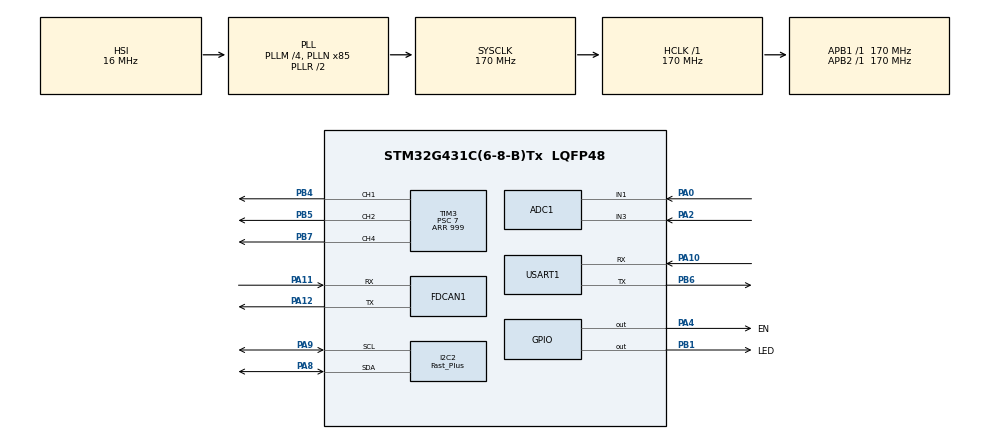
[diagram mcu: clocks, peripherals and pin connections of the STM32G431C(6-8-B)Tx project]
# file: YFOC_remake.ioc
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ADC1.Channel-0\#ChannelRegularConversion=ADC_CHANNEL_1
ADC1.ContinuousConvMode=ENABLE
ADC1.DMAContinuousRequests=ENABLE
ADC1.EnableInjectedConversion=ENABLE
ADC1.ExternalTrigInjecConv=ADC_EXTERNALTRIGINJEC_T3_TRGO
ADC1.InjNumberOfConversion=2
ADC1.InjectedChannel-1\#ChannelInjectedConversion=ADC_CHANNEL_1
ADC1.InjectedChannel-2\#ChannelInjectedConversion=ADC_CHANNEL_3
ADC1.InjectedOffsetNumber-1\#ChannelInjectedConversion=ADC_OFFSET_NONE
ADC1.InjectedOffsetNumber-2\#ChannelInjectedConversion=ADC_OFFSET_NONE
ADC1.InjectedRank-1\#ChannelInjectedConversion=1
ADC1.InjectedRank-2\#ChannelInjectedConversion=2
ADC1.InjectedSamplingTime-1\#ChannelInjectedConversion=ADC_SAMPLETIME_92CYCLES_5
ADC1.InjectedSamplingTime-2\#ChannelInjectedConversion=ADC_SAMPLETIME_92CYCLES_5
ADC1.NbrOfConversionFlag=1
ADC1.OffsetNumber-0\#ChannelRegularConversion=ADC_OFFSET_NONE
ADC1.Rank-0\#ChannelRegularConversion=1
ADC1.SamplingTime-0\#ChannelRegularConversion=ADC_SAMPLETIME_2CYCLES_5
ADC1.master=1
Dma.ADC1.1.Direction=DMA_PERIPH_TO_MEMORY
Dma.ADC1.1.EventEnable=DISABLE
Dma.ADC1.1.Instance=DMA1_Channel2
Dma.ADC1.1.MemDataAlignment=DMA_MDATAALIGN_HALFWORD
Dma.ADC1.1.MemInc=DMA_MINC_ENABLE
Dma.ADC1.1.Mode=DMA_CIRCULAR
Dma.ADC1.1.PeriphDataAlignment=DMA_PDATAALIGN_HALFWORD
Dma.ADC1.1.PeriphInc=DMA_PINC_DISABLE
Dma.ADC1.1.Polarity=HAL_DMAMUX_REQ_GEN_RISING
Dma.ADC1.1.Priority=DMA_PRIORITY_LOW
Dma.ADC1.1.RequestNumber=1
Dma.ADC1.1.SignalID=NONE
Dma.ADC1.1.SyncEnable=DISABLE
Dma.ADC1.1.SyncPolarity=HAL_DMAMUX_SYNC_NO_EVENT
Dma.ADC1.1.SyncRequestNumber=1
Dma.ADC1.1.SyncSignalID=NONE
Dma.Request0=USART1_TX
Dma.Request1=ADC1
Dma.USART1_TX.0.Direction=DMA_MEMORY_TO_PERIPH
Dma.USART1_TX.0.EventEnable=DISABLE
Dma.USART1_TX.0.Instance=DMA1_Channel1
Dma.USART1_TX.0.MemDataAlignment=DMA_MDATAALIGN_BYTE
Dma.USART1_TX.0.MemInc=DMA_MINC_ENABLE
Dma.USART1_TX.0.Mode=DMA_NORMAL
Dma.USART1_TX.0.PeriphDataAlignment=DMA_PDATAALIGN_BYTE
Dma.USART1_TX.0.PeriphInc=DMA_PINC_DISABLE
Dma.USART1_TX.0.Polarity=HAL_DMAMUX_REQ_GEN_RISING
Dma.USART1_TX.0.Priority=DMA_PRIORITY_LOW
Dma.USART1_TX.0.RequestNumber=1
Dma.USART1_TX.0.SignalID=NONE
Dma.USART1_TX.0.SyncEnable=DISABLE
Dma.USART1_TX.0.SyncPolarity=HAL_DMAMUX_SYNC_NO_EVENT
Dma.USART1_TX.0.SyncRequestNumber=1
Dma.USART1_TX.0.SyncSignalID=NONE
FDCAN1.CalculateBaudRateNominal=999999
FDCAN1.CalculateTimeBitNominal=1000
FDCAN1.CalculateTimeQuantumNominal=29.411764705882355
FDCAN1.DataPrescaler=5
FDCAN1.DataSyncJumpWidth=8
FDCAN1.DataTimeSeg1=25
FDCAN1.DataTimeSeg2=8
FDCAN1.NominalPrescaler=5
FDCAN1.NominalSyncJumpWidth=8
FDCAN1.NominalTimeSeg1=25
FDCAN1.NominalTimeSeg2=8
FDCAN1.ProtocolException=ENABLE
FDCAN1.StdFiltersNbr=1
I2C2.I2C_Speed_Mode=I2C_Fast_Plus
I2C2.Timing=0x4052060F
Mcu.Family=STM32G4
Mcu.Name=STM32G431C(6-8-B)Tx
Mcu.Package=LQFP48
NVIC.ADC1_2_IRQn=true\:0\:0\:false\:false\:true\:true\:true\:true
NVIC.DMA1_Channel1_IRQn=true\:0\:0\:false\:false\:true\:false\:true\:true
NVIC.FDCAN1_IT0_IRQn=true\:0\:0\:false\:false\:true\:true\:true\:true
NVIC.PriorityGroup=NVIC_PRIORITYGROUP_4
NVIC.TIM3_IRQn=true\:0\:0\:false\:false\:true\:true\:true\:true
NVIC.USART1_IRQn=true\:0\:0\:false\:false\:true\:false\:true\:true
PA0.Mode=IN1-Single-Ended
PA0.Signal=ADC1_IN1
PA10.Mode=Asynchronous
PA10.Signal=USART1_RX
PA11.Mode=FDCAN_Activate
PA11.Signal=FDCAN1_RX
PA12.Mode=FDCAN_Activate
PA12.Signal=FDCAN1_TX
PA13.Mode=Serial_Wire
PA13.Signal=SYS_JTMS-SWDIO
PA14.Mode=Serial_Wire
PA14.Signal=SYS_JTCK-SWCLK
PA2.Mode=IN3-Single-Ended
PA2.Signal=ADC1_IN3
PA4.GPIO_Label=EN
PA4.Signal=GPIO_Output
PA8.Mode=I2C
PA8.Signal=I2C2_SDA
PA9.Mode=I2C
PA9.Signal=I2C2_SCL
PB1.GPIO_Label=LED
PB1.GPIO_PuPd=GPIO_PULLUP
PB1.PinState=GPIO_PIN_SET
PB1.Signal=GPIO_Output
PB4.Signal=S_TIM3_CH1
PB5.Signal=S_TIM3_CH2
PB6.Mode=Asynchronous
PB6.Signal=USART1_TX
PB7.Signal=S_TIM3_CH4
PF0-OSC_IN.Mode=HSE-External-Oscillator
PF0-OSC_IN.Signal=RCC_OSC_IN
PF1-OSC_OUT.Mode=HSE-External-Oscillator
PF1-OSC_OUT.Signal=RCC_OSC_OUT
ProjectManager.HeapSize=0x200
ProjectManager.StackSize=0x400
ProjectManager.TargetToolchain=STM32CubeIDE
RCC.ADC12Freq_Value=170000000
RCC.AHBFreq_Value=170000000
RCC.APB1Freq_Value=170000000
RCC.APB1TimFreq_Value=170000000
RCC.APB2Freq_Value=170000000
RCC.APB2TimFreq_Value=170000000
RCC.CortexFreq_Value=170000000
RCC.EXTERNAL_CLOCK_VALUE=12288000
RCC.HCLKFreq_Value=170000000
RCC.HSE_VALUE=25000000
RCC.HSI48_VALUE=48000000
RCC.HSI_VALUE=16000000
RCC.LSE_VALUE=32768
RCC.PLLM=RCC_PLLM_DIV4
RCC.PLLN=85
RCC.SYSCLKFreq_VALUE=170000000
RCC.SYSCLKSource=RCC_SYSCLKSOURCE_PLLCLK
RCC.USBFreq_Value=170000000
RCC.VCOOutputFreq_Value=340000000
SH.S_TIM3_CH1.0=TIM3_CH1,PWM Generation1 CH1
SH.S_TIM3_CH2.0=TIM3_CH2,PWM Generation2 CH2
SH.S_TIM3_CH4.0=TIM3_CH4,PWM Generation4 CH4
STMicroelectronics.X-CUBE-ALGOBUILD.1.4.0.LibraryCcDSPOoLibraryJjDSPOoLibrary=true
TIM3.AutoReloadPreload=TIM_AUTORELOAD_PRELOAD_DISABLE
TIM3.Channel-PWM\ Generation1\ CH1=TIM_CHANNEL_1
TIM3.Channel-PWM\ Generation2\ CH2=TIM_CHANNEL_2
TIM3.Channel-PWM\ Generation4\ CH4=TIM_CHANNEL_4
TIM3.CounterMode=TIM_COUNTERMODE_UP
TIM3.OCFastMode_PWM-PWM\ Generation1\ CH1=TIM_OCFAST_ENABLE
TIM3.OCFastMode_PWM-PWM\ Generation2\ CH2=TIM_OCFAST_ENABLE
TIM3.OCFastMode_PWM-PWM\ Generation4\ CH4=TIM_OCFAST_ENABLE
TIM3.OCMode_PWM-PWM\ Generation1\ CH1=TIM_OCMODE_PWM2
TIM3.OCMode_PWM-PWM\ Generation2\ CH2=TIM_OCMODE_PWM2
TIM3.OCMode_PWM-PWM\ Generation4\ CH4=TIM_OCMODE_PWM2
TIM3.PeriodNoDither=999
TIM3.Prescaler=7
TIM3.TIM_MasterOutputTrigger=TIM_TRGO_UPDATE
USART1.VirtualMode-Asynchronous=VM_ASYNC
VP_STMicroelectronics.X-CUBE-ALGOBUILD_VS_DSPOoLibraryJjLibrary_1.4.0_1.4.0.Mode=DSPOoLibraryJjLibrary
VP_SYS_VS_DBSignals.Mode=DisableDeadBatterySignals
VP_TIM3_VS_ClockSourceINT.Mode=Internal
board=custom

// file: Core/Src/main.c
/* USER CODE BEGIN Header */
/**
  ******************************************************************************
  * @file           : main.c
  * @brief          : Main program body
  ******************************************************************************
  * @attention
  *
  * Copyright (c) 2025 STMicroelectronics.
  * All rights reserved.
  *
  * This software is licensed under terms that can be found in the LICENSE file
  * in the root directory of this software component.
  * If no LICENSE file comes with this software, it is provided AS-IS.
  *
  ******************************************************************************
  */
/* USER CODE END Header */
#include "main.h"
#include "adc.h"
#include "dma.h"
#include "fdcan.h"
#include "i2c.h"
#include "tim.h"
#include "usart.h"
#include "gpio.h"

/* USER CODE BEGIN Includes */
#include "UART_DMA.h"
#include "arm_math.h"
/* USER CODE END Includes */

void SystemClock_Config(void);

/* USER CODE BEGIN 0 */

#include <stdlib.h>
#include "pid.h"
#include "dwt.h"

pid_type_def pid_cur_q;
pid_type_def pid_cur_d;

float whl_whl=0.0f;

#define _3PI_2 4.71238898038f
#define _2PI 6.28318530718f
#define _constrain(amt,low,high) ((amt)<(low)?(low):((amt)>(high)?(high):(amt)))

float voltage_limit=24.0f;
float voltage_power_supply=24.0f;
float zero_electric_angle=0,Ualpha,Ubeta=0,Ua=0,Ub=0,Uc=0,dc_a=0,dc_b=0,dc_c=0;

#if motor_type == 4310
int PP=14;    //电机极对数
int DIR= 1;    //传感器方向
#endif
#if motor_type == 3505
int PP=11;    //电机极对数
int DIR= -1;    //传感器方向
#endif

float angle_prev=0; // 最后一次调用 getSensorAngle() 的输出结果，用于得到完整的圈数和速度
void setPwm(float Ua, float Ub, float Uc){
  Ua = _constrain(Ua, 0.0f, voltage_limit);
  Ub = _constrain(Ub, 0.0f, voltage_limit);
  Uc = _constrain(Uc, 0.0f, voltage_limit);
  dc_a = _constrain(Ua / voltage_power_supply, 0.0f , 1.0f );
  dc_b = _constrain(Ub / voltage_power_supply, 0.0f , 1.0f );
  dc_c = _constrain(Uc / voltage_power_supply, 0.0f , 1.0f );
  htim3.Instance->CCR1 = 1000-dc_a*1000;
  htim3.Instance->CCR2 = 1000-dc_b*1000;
  htim3.Instance->CCR4 = 1000-dc_c*1000;
}

void setSVPWM(float Ua, float Ub, float Uc) {
  float X ,Y ,Z = 0;
  float T1,T2,T1Temp,T2Temp = 0;
  uint8_t A,B,C,N = 0;
  uint16_t Ta,Tb,Tc = 0;
  if(Ua > 0){A = 1;} else{A = 0;}
  if(Ub > 0){B = 1;} else{B = 0;}
  if(Uc > 0){C = 1;} else{C = 0;}
  N = 4 * C + 2 * B + A;

  X = (1.732f * 2000 * Ualpha) / voltage_power_supply;
  Y = (1.5f * Ubeta * 2000 + 0.866f * Ualpha * 2000) / voltage_power_supply;
  Z = (-1.5f * Ubeta * 2000 + 0.866f * Ualpha * 2000) / voltage_power_supply;

  switch(N) {
    case 3: {T1 = -Z; T2 =  X;} break;
    case 1: {T1 =  Z; T2 =  Y;} break;
    case 5: {T1 =  X; T2 = -Y;} break;
    case 4: {T1 = -X; T2 =  Z;} break;
    case 6: {T1 = -Y; T2 = -Z;} break;
    case 2: {T1 =  Y; T2 = -X;} break;
    default:{T1 = 0;  T2=0;}    break;
  }
      T1Temp = T1;
      T2Temp = T2;

      if(T1+T2 > 1900)
      {
        T1 = 1900 * T1Temp / (T1Temp + T2Temp);
        T2 = 1900 * T2Temp / (T1Temp + T2Temp);
      }

      Ta = (2000 - T1 - T2) * 0.25f;
      Tb = Ta + T1 * 0.5f;
      Tc = Tb + T2 * 0.5f;

      switch(N)
      {
        case 3:
        {
          htim3.Instance->CCR1 = Ta;
          htim3.Instance->CCR2 = Tb;
          htim3.Instance->CCR4 = Tc;
        } break;
        case 1:
        {
           htim3.Instance->CCR1 = Tb;
           htim3.Instance->CCR2 = Ta;
           htim3.Instance->CCR4 = Tc;
        } break;
        case 5:
        {
           htim3.Instance->CCR1 = Tc;
           htim3.Instance->CCR2 = Ta;
           htim3.Instance->CCR4 = Tb;
        } break;
        case 4:
        {
           htim3.Instance->CCR1 = Tc;
           htim3.Instance->CCR2 = Tb;
           htim3.Instance->CCR4 = Ta;
        } break;
        case 6:
        {
           htim3.Instance->CCR1 = Tb;
           htim3.Instance->CCR2 = Tc;
           htim3.Instance->CCR4 = Ta;
        } break;
        case 2:
        {
           htim3.Instance->CCR1 = Ta;
           htim3.Instance->CCR2 = Tc;
           htim3.Instance->CCR4 = Tb;
        } break;
        default:
        {
           htim3.Instance->CCR1 = Ta;
           htim3.Instance->CCR2 = Tb;
           htim3.Instance->CCR4 = Tc;
        }break;
      }

}
float _normalizeAngle(float angle){
  float a = fmod(angle, 2*PI);   //取余运算可以用于归一化，列出特殊值例子算便知
  return a >= 0 ? a : (a + 2*PI);
}

float my_position=0.0f;
uint8_t as5600_data[2] = {};
uint16_t raw_angle;
float angle_deg;
int32_t full_rotations=0; // 总圈数计数
int read_AS5600(){
  HAL_I2C_Mem_Read(&hi2c2, 0x36<<1, 0x0E, I2C_MEMADD_SIZE_8BIT, as5600_data, 2, 0xffff);
  raw_angle = (as5600_data[0] << 8) | as5600_data[1];
  return raw_angle;
}
void getAngle_Without_track(float* position){//my_position*180.0f/PI/0.08789
  *position = read_AS5600()*0.08789* PI / 180;    //得到弧度制的角度
}
float _electricalAngle(){
  return  _normalizeAngle((float)(DIR *  PP) * my_position-zero_electric_angle);
}
float getAngle(){
  float val = my_position;
  float d_angle = val - angle_prev;  //计算旋转的总圈数
  if(abs(d_angle) > (0.5f*6.28318530718f) ) full_rotations += ( d_angle > 0 ) ? -1 : 1;//通过判断角度变化是否大于80%的一圈(0.8f*6.28318530718f)来判断是否发生了溢出，如果发生了，则将full_rotations增加1（如果d_angle小于0）或减少1（如果d_angle大于0）。
  angle_prev = val;
  return (float)full_rotations * 6.28318530718f + angle_prev;
}

void setTorque_QD(float Uq, float Ud, float angle_el) {
  getAngle(); //更新传感器数值
  // 限制 Uq 和 Ud 的范围
  Uq = _constrain(Uq, -(voltage_power_supply)/2, (voltage_power_supply)/2);
  Ud = _constrain(Ud, -(voltage_power_supply)/2, (voltage_power_supply)/2);
  angle_el = _normalizeAngle(angle_el);
  // 提前计算 sin 和 cos，节省计算资源
  float ct = arm_cos_f32(angle_el);
  float st = arm_sin_f32(angle_el);
  // 帕克逆变换 (Inverse Park Transform)

  Ualpha = Ud * ct - Uq * st;
  Ubeta  = Ud * st + Uq * ct;
  // 克拉克逆变换 (Inverse Clarke Transform)
  Ua = Ualpha + voltage_power_supply/2;
  Ub = 0.866f*Ubeta   - 0.5f*Ualpha + voltage_power_supply/2.0f;
  Uc = - 0.866f*Ubeta -0.5f*Ualpha + voltage_power_supply/2.0f;
  setPwm(Ua, Ub, Uc);

}
void setTorque_QD_SVPWM(float Uq, float Ud, float angle_el) {
  getAngle(); //更新传感器数值
  // 限制 Uq 和 Ud 的范围
  Uq = _constrain(Uq, -(voltage_power_supply)/2, (voltage_power_supply)/2);
  Ud = _constrain(Ud, -(voltage_power_supply)/2, (voltage_power_supply)/2);
  angle_el = _normalizeAngle(angle_el);
  // 提前计算 sin 和 cos，节省计算资源
  float ct = arm_cos_f32(angle_el);
  float st = arm_sin_f32(angle_el);
  // 帕克逆变换 (Inverse Park Transform)
  Ualpha = Ud * ct - Uq * st;
  Ubeta  = Ud * st + Uq * ct;
  // 克拉克逆变换 (Inverse Clarke Transform)
  Ua = Ualpha ;
  Ub = 0.866f*Ubeta - 0.5f*Ualpha ;
  Uc = - 0.866f*Ubeta -0.5f*Ualpha ;

  setSVPWM(Ua, Ub, Uc);
}

// 定时器更新中断回调函数
float I_u = 0.0f;
float I_v = 0.0f;
float I_w = 0.0f;
float I_q = 0.0f;
float I_q1_I_d2[2] = {0.0f,0.0f};
int16_t I_cnt = 0;
uint8_t I_flag = 0;
#define _1_SQRT3 0.57735026919f
#define _2_SQRT3 1.15470053838f
#define SQRT3_2 0.8660254038f
float my_U = 0;
float my_Iq_out = 0.0f;
float my_Id_out = 0.0f;
int32_t whl_cnt = 0;
float speed_rpm = 0.0f;

void setPhaseVoltage(float Uq,float Ud, float angle_el) {
  angle_el = _normalizeAngle(angle_el + zero_electric_angle);  // 帕克逆变换
  Ualpha =  -Uq*arm_sin_f32(angle_el);
  Ubeta =   Uq*arm_cos_f32(angle_el);
  Ua = Ualpha + voltage_power_supply/2;  // 克拉克逆变换
  Ub = (sqrt(3)*Ubeta-Ualpha)/2 + voltage_power_supply/2;
  Uc = (-Ualpha-sqrt(3)*Ubeta)/2 + voltage_power_supply/2;
  setPwm(Ua,Ub,Uc);
}

void cal_Iq_Id(float current_a, float current_c, float current_b, float angle_el, float *ptr_Iq, float *ptr_Id) {
    float I_alpha = 0.66666667f * (current_a - 0.5f * current_b - 0.5f * current_c);
    float I_beta = _1_SQRT3 * (current_b - current_c);
    float ct = arm_cos_f32(angle_el);
    float st = arm_sin_f32(angle_el);

    // Park变换计算 Id (直轴) 和 Iq (交轴)
    *ptr_Iq = I_beta * ct - I_alpha * st;
    *ptr_Id = I_alpha * ct + I_beta * st;
}

float elecangle =0;
int first_cnt = 0;

float my_aim = 0.0f;
int16_t my_aim_Torque = 0.0f;
float my_Torque = 0.0f;
/*
 *永磁体磁链  =  Kt/(1.5 * Pp)
 *Kt为扭矩常数
 */
void cal_Torque(float Iq, float Id, float* torque){
#if motor_type == 4310
  float Flux_Linkage = 0.01095f; //永磁体磁链
#elif motor_type == 3505
  float Flux_Linkage =  0.004848f; //永磁体磁链
#endif
  *torque = 1.5f * (float)PP * Iq * Flux_Linkage;   //T  = 1.5 * Pp * Iq * 永磁体磁链
}
float int_2_float (int16_t n_int16,float max_fp){
  const float n_float = ((float)n_int16)/32768.0f*max_fp;
  return n_float;
}

float Torque_2_Current(int16_t Torque_aim){
  float Iq_out = 0;
#if motor_type == 4310
  float Flux_Linkage = 0.01095f; //永磁体磁链
  float Torque_aim_f = int_2_float(Torque_aim,0.5f);
#elif motor_type == 3505
  float Flux_Linkage =  0.004848f; //永磁体磁链
  float Torque_aim_f = int_2_float(Torque_aim,0.15f);
#endif
  Iq_out = (float)Torque_aim_f / (1.5f * (float)PP * Flux_Linkage);
  return Iq_out;
}
void process_adc(const uint16_t* adc_data ){
  static float last_Iu = 0.0f;
  static float last_Iw = 0.0f;
  static float Iu_offset = 0.0f;
  static float Iw_offset = 0.0f;
  last_Iu = I_u;
  last_Iw = I_w;
  I_u = 0.999f*(((float)(-(adc_data[0] - Iu_offset))*3.3f/4096.0f)/50.0f/0.01f) + 0.001f*last_Iu;
  I_w = 0.999f*(((float)(-(adc_data[1] - Iw_offset))*3.3f/4096.0f)/50.0f/0.01f) + 0.001f*last_Iw;
  I_v = -I_u - I_w;

  if (I_flag < 2){
    if( I_cnt < 5000){
      Iu_offset += (float)adc_data[0];
      Iw_offset += (float)adc_data[1];
      I_cnt++;
    }else{
      Iu_offset /= 5000.0f;
      Iw_offset /= 5000.0f;
      I_flag = 2;
      I_cnt = 0;
    }
  }
  if (I_flag == 2){
    I_cnt++;
    if (I_cnt == 1000){
      HAL_GPIO_TogglePin(LED_GPIO_Port, LED_Pin);
      I_cnt = 0;
    }
    cal_Iq_Id(I_u,I_w,I_v,_electricalAngle(), &I_q1_I_d2[0], &I_q1_I_d2[1]);
    cal_Torque(I_q1_I_d2[0], I_q1_I_d2[1], &my_Torque);
    if (first_cnt < 5000){
      first_cnt++;
    }else{
      my_Iq_out = PID_calc(&pid_cur_q,I_q1_I_d2[0],my_aim);
      my_Id_out = PID_calc(&pid_cur_d,I_q1_I_d2[1],0.0f);
    }
  }
  whl_cnt++;
  DMA_to_Vofa_v5(my_Torque,I_q1_I_d2[0],I_q1_I_d2[1],I_v,I_w);
}
//ADC采样中断函数
uint16_t aADCxINJConvertedData[2] = {0};
int64_t whl_cnt1 = 0;
int64_t whl_cnt2 = 0;

void HAL_ADCEx_InjectedConvCpltCallback(ADC_HandleTypeDef* hadc){
  if(hadc->Instance == ADC1){
    aADCxINJConvertedData[0] = hadc->Instance->JDR1;
    aADCxINJConvertedData[1] = hadc->Instance->JDR2;
    getAngle_Without_track(&my_position);
    whl_cnt2++;
    process_adc(aADCxINJConvertedData);
  }
}

void HAL_TIM_PeriodElapsedCallback(TIM_HandleTypeDef *htim){
  static uint16_t TIM3_Cnt1 = 0;
  if(htim->Instance == TIM3){ // 判断是定时器3发生的中断
    TIM3_Cnt1 ++;             // 定时器3每中断一次，计数器自加1
    if (I_flag < 2){
      setTorque_QD(0,0,_electricalAngle());
    }else{
      ////想看电流波形，解除注释
      // elecangle=elecangle+0.005f;
      // if (elecangle > 2*PI){
      //   elecangle -= 2*PI;
      // }
      //
      // setTorque_QD(3.0f,0.0f,elecangle);

      setTorque_QD(my_Iq_out,my_Id_out,_electricalAngle());
      // setTorque_QD_SVPWM(my_Iq_out,my_Id_out,_electricalAngle());
    }

  }
}
//todo
// CAN数据处理回调函数的目标转矩处理    先接收数据，通过缩放得到目标力矩，力矩转化成目标Q轴电流，缩放是把0.几的力矩转换到-32768~32,768范围内

CAN_Data_Callback CAN_Data_Handler(uint8_t* data, size_t len){
  if (len != 8)return NULL;
#if motor_id==1
   my_aim_Torque = (int16_t)(data[0] << 8 | data[1]); //1
#elif motor_id==2
   my_aim_Torque = (int16_t)(data[2] << 8 | data[3]) ; //2
#elif motor_id==3
   my_aim_Torque = (int16_t)(data[4] << 8 | data[5]); //3
#elif motor_id==4
  my_aim_Torque =  (int16_t)(data[6] << 8 | data[7]); //4
#endif
  my_aim = Torque_2_Current(my_aim_Torque);
  return NULL;
}
/* USER CODE END 0 */

int main(void)
{

  /* MCU Configuration--------------------------------------------------------*/

  /* Reset of all peripherals, Initializes the Flash interface and the Systick. */
  HAL_Init();

  /* Configure the system clock */
  SystemClock_Config();

  /* Initialize all configured peripherals */
  MX_GPIO_Init();
  MX_DMA_Init();
  MX_USART1_UART_Init();
  MX_ADC1_Init();
  MX_I2C2_Init();
  MX_TIM3_Init();
  MX_FDCAN1_Init();
  /* USER CODE BEGIN 2 */
  HAL_TIM_PWM_Start(&htim3, TIM_CHANNEL_1);  // 启动TIM3的PWM通道
  HAL_TIM_PWM_Start(&htim3, TIM_CHANNEL_2);
  HAL_TIM_PWM_Start(&htim3, TIM_CHANNEL_4);
  HAL_GPIO_WritePin(EN_GPIO_Port,EN_Pin,GPIO_PIN_SET);

  //编码器0点校准，取消注释后生效
  // setPhaseVoltage(5, 0,_3PI_2);
  // HAL_Delay(1000);
  // getAngle_Without_track(&my_position);
  // zero_electric_angle=_electricalAngle();
  // setPhaseVoltage(0, 0,_3PI_2);

#if motor_type == 4310
#if motor_id==1
  zero_electric_angle = 5.93010378f;     //1
#elif motor_id==2
  zero_electric_angle = 3.97551537f;     //2
#elif motor_id==3
  zero_electric_angle = 3.42031193f;    //3
#elif motor_id==4
  zero_electric_angle = 4.19658279f;     //4
#endif
#elif motor_type == 3505
#if motor_id==1
  zero_electric_angle = 5.98564053f;     //1
#elif motor_id==2
  zero_electric_angle = 6.22805166f;     //2
#elif motor_id==3
  zero_electric_angle = 1.09209728;    //3
#elif motor_id==4
  zero_electric_angle = 0.26024437f;     //4
#endif
#endif

  HAL_TIM_Base_Start_IT(&htim3);
  __HAL_ADC_ENABLE_IT(&hadc1, ADC_IT_JEOC);
  HAL_ADCEx_InjectedStart(&hadc1);
  /*
   * FOC PI参数计算 (FOC PI Parameter Calculation)
   * L (Phase Inductance) = 3.26 mH = 0.00326 H
   * R (Phase Resistance) = 10.32 Ohm
   * Ts (Sampling Time) = 1 / 21250 Hz ≈ 47 us (Assuming 21.25kHz PWM/Control Loop)
   * Bandwidth (Target Current Loop Bandwidth) = 1000 rad/s (~160 Hz)
   * Formula:
   * Kp = L * Bandwidth
   * Ki = R * Bandwidth * Ts
   * Calculation:
   * Kp = 0.00326 * 1000 = 3.26
   * Ki = 10.32 * 1000 * 0.000047 ≈ 0.485
   */
#if motor_type == 4310
  float pid_param[3] = {3.26f, 0.485f, 0.0f}; //1.0f 0.038f
#elif motor_type == 3505
  float pid_param[3] = {1.27f, 0.308f, 0.0f};
#endif
  PID_init(&pid_cur_q,PID_POSITION,pid_param,12.0f,12.0f);
  PID_init(&pid_cur_d,PID_POSITION,pid_param,12.0f,12.0f);

  PID_clear(&pid_cur_q);
  PID_clear(&pid_cur_d);

  USER_FDCAN_Filter_Init();
  CAN_RegisterCallback((CAN_Data_Callback)CAN_Data_Handler);
  BSP_DWT_Init();
  uint32_t loop_tick = 0;
  BSP_DWT_GetDeltaT(&loop_tick);
  double Dt_Encoder = 0.0;
  /* USER CODE END 2 */

  /* Infinite loop */
  /* USER CODE BEGIN WHILE */
  while (1)
  {
    Dt_Encoder = BSP_DWT_GetDeltaT64(&loop_tick);
    float speed_rpm_last = 0.0f;
    speed_rpm_last = speed_rpm;
    static int16_t Last_Encoder = 0;
    static int16_t Encoder = 0;
    int16_t Encoder_Err = 0;
    Last_Encoder = Encoder;
    Encoder = (int16_t)(my_position*180.0f/PI/0.08789*2.0f);
    Encoder_Err = Encoder - Last_Encoder;//Encoder > Last_Encoder反转转到0了;
     if (abs(Encoder_Err) > 4096){
      if (Encoder_Err > 0) Encoder_Err = -(Last_Encoder + 8192 - Encoder);
      else Encoder_Err =  Encoder + 8192 - Last_Encoder;
     }
     speed_rpm = 0.9f*Encoder_Err / 8192.0f/Dt_Encoder * 60.0f + 0.1f*speed_rpm_last;
    uint8_t tx_data[8] = {0};
    CAN_cmd(Encoder,(int16_t)speed_rpm,(int16_t)(I_q1_I_d2[0]*10000),0x00);
    HAL_Delay(1);

    /* USER CODE END WHILE */

  }
}

void SystemClock_Config(void)
{
  RCC_OscInitTypeDef RCC_OscInitStruct = {0};
  RCC_ClkInitTypeDef RCC_ClkInitStruct = {0};

  /** Configure the main internal regulator output voltage
  */
  HAL_PWREx_ControlVoltageScaling(PWR_REGULATOR_VOLTAGE_SCALE1_BOOST);

  /** Initializes the RCC Oscillators according to the specified parameters
  * in the RCC_OscInitTypeDef structure.
  */
  RCC_OscInitStruct.OscillatorType = RCC_OSCILLATORTYPE_HSI;
  RCC_OscInitStruct.HSIState = RCC_HSI_ON;
  RCC_OscInitStruct.HSICalibrationValue = RCC_HSICALIBRATION_DEFAULT;
  RCC_OscInitStruct.PLL.PLLState = RCC_PLL_ON;
  RCC_OscInitStruct.PLL.PLLSource = RCC_PLLSOURCE_HSI;
  RCC_OscInitStruct.PLL.PLLM = RCC_PLLM_DIV4;
  RCC_OscInitStruct.PLL.PLLN = 85;
  RCC_OscInitStruct.PLL.PLLP = RCC_PLLP_DIV2;
  RCC_OscInitStruct.PLL.PLLQ = RCC_PLLQ_DIV2;
  RCC_OscInitStruct.PLL.PLLR = RCC_PLLR_DIV2;
  if (HAL_RCC_OscConfig(&RCC_OscInitStruct) != HAL_OK)
  {
    Error_Handler();
  }

  /** Initializes the CPU, AHB and APB buses clocks
  */
  RCC_ClkInitStruct.ClockType = RCC_CLOCKTYPE_HCLK|RCC_CLOCKTYPE_SYSCLK
                              |RCC_CLOCKTYPE_PCLK1|RCC_CLOCKTYPE_PCLK2;
  RCC_ClkInitStruct.SYSCLKSource = RCC_SYSCLKSOURCE_PLLCLK;
  RCC_ClkInitStruct.AHBCLKDivider = RCC_SYSCLK_DIV1;
  RCC_ClkInitStruct.APB1CLKDivider = RCC_HCLK_DIV1;
  RCC_ClkInitStruct.APB2CLKDivider = RCC_HCLK_DIV1;

  if (HAL_RCC_ClockConfig(&RCC_ClkInitStruct, FLASH_LATENCY_4) != HAL_OK)
  {
    Error_Handler();
  }
}

void Error_Handler(void)
{
  __disable_irq();
  while (1)
  {
  }
}
